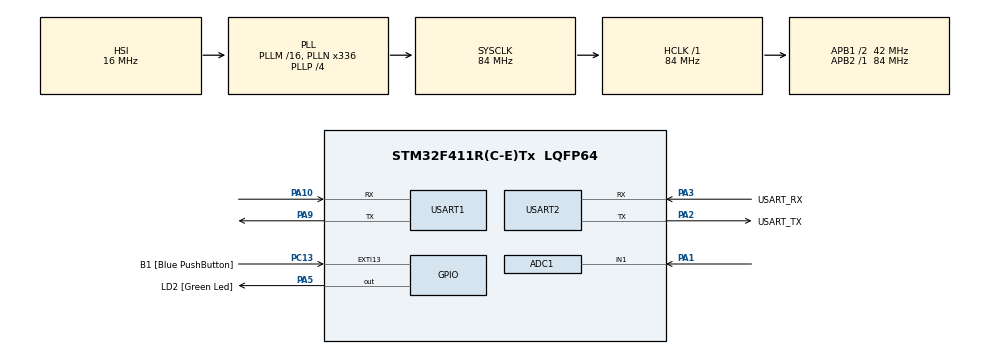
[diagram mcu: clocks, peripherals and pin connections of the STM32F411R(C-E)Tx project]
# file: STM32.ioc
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ADC1.Channel-0\#ChannelRegularConversion=ADC_CHANNEL_VREFINT
ADC1.NbrOfConversionFlag=1
ADC1.Rank-0\#ChannelRegularConversion=1
ADC1.SamplingTime-0\#ChannelRegularConversion=ADC_SAMPLETIME_3CYCLES
ADC1.master=1
Mcu.Family=STM32F4
Mcu.Name=STM32F411R(C-E)Tx
Mcu.Package=LQFP64
NVIC.PriorityGroup=NVIC_PRIORITYGROUP_0
PA1.Signal=ADCx_IN1
PA10.GPIO_PuPd=GPIO_PULLUP
PA10.Mode=Asynchronous
PA10.Signal=USART1_RX
PA13.GPIO_Label=TMS
PA13.Mode=Serial_Wire
PA13.Signal=SYS_JTMS-SWDIO
PA14.GPIO_Label=TCK
PA14.Mode=Serial_Wire
PA14.Signal=SYS_JTCK-SWCLK
PA2.GPIO_Label=USART_TX
PA2.Mode=Asynchronous
PA2.Signal=USART2_TX
PA3.GPIO_Label=USART_RX
PA3.Mode=Asynchronous
PA3.Signal=USART2_RX
PA5.GPIO_Label=LD2 [Green Led]
PA5.Signal=GPIO_Output
PA9.Mode=Asynchronous
PA9.Signal=USART1_TX
PB3.GPIO_Label=SWO
PB3.Signal=SYS_JTDO-SWO
PC13-ANTI_TAMP.GPIO_Label=B1 [Blue PushButton]
PC13-ANTI_TAMP.GPIO_ModeDefaultEXTI=GPIO_MODE_IT_FALLING
PC13-ANTI_TAMP.Signal=GPXTI13
PC14-OSC32_IN.Mode=LSE-External-Oscillator
PC14-OSC32_IN.Signal=RCC_OSC32_IN
PC15-OSC32_OUT.Mode=LSE-External-Oscillator
PC15-OSC32_OUT.Signal=RCC_OSC32_OUT
PH0\ -\ OSC_IN.Mode=HSE-External-Clock-Source
PH0\ -\ OSC_IN.Signal=RCC_OSC_IN
PH1\ -\ OSC_OUT.Mode=HSE-External-Clock-Source
PH1\ -\ OSC_OUT.Signal=RCC_OSC_OUT
ProjectManager.HeapSize=0x200
ProjectManager.StackSize=0x400
ProjectManager.TargetToolchain=Makefile
RCC.48MHZClocksFreq_Value=84000000
RCC.AHBFreq_Value=84000000
RCC.APB1CLKDivider=RCC_HCLK_DIV2
RCC.APB1Freq_Value=42000000
RCC.APB1TimFreq_Value=84000000
RCC.APB2Freq_Value=84000000
RCC.APB2TimFreq_Value=84000000
RCC.CortexFreq_Value=84000000
RCC.FLatency-AdvancedSettings=FLASH_LATENCY_2
RCC.HCLKFreq_Value=84000000
RCC.HSE_VALUE=8000000
RCC.HSI_VALUE=16000000
RCC.PLLN=336
RCC.PLLP=RCC_PLLP_DIV4
RCC.SYSCLKFreq_VALUE=84000000
RCC.SYSCLKSource=RCC_SYSCLKSOURCE_PLLCLK
RCC.VCOOutputFreq_Value=336000000
SH.ADCx_IN1.0=ADC1_IN1,IN1
TIM5.Channel-Input_Capture4_from_TI4_Remap=TIM_CHANNEL_4
USART1.VirtualMode=VM_ASYNC
USART2.VirtualMode=VM_ASYNC
VP_ADC1_TempSens_Input.Mode=IN-TempSens
VP_ADC1_Vref_Input.Mode=IN-Vrefint
VP_TIM5_VS_ClockSourceINT.Mode=Internal
VP_TIM5_VS_NoInput4.Mode=Input_Capture4_from_TI4_Remap
board=NUCLEO-F411RE

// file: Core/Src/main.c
/* USER CODE BEGIN Header */
/**
  ******************************************************************************
  * @file           : main.c
  * @brief          : Main program body
  ******************************************************************************
  * @attention
  *
  * Copyright (c) 2026 STMicroelectronics.
  * All rights reserved.
  *
  * This software is licensed under terms that can be found in the LICENSE file
  * in the root directory of this software component.
  * If no LICENSE file comes with this software, it is provided AS-IS.
  *
  ******************************************************************************
  */
/* USER CODE END Header */
#include "main.h"

/* USER CODE BEGIN Includes */
#include <string.h>
#include <stdio.h>
#include "messages.h"
#include "platform.h"
#include "dataFormats.h"
#include "uart.h"
//#include "stm32f0xx.h"
/* USER CODE END Includes */

/* USER CODE BEGIN PD */

/* Sector 6 (0x08040000): persistent flash data for the application
   Binary layout depeonds on whether this is car or fob firmware */
#define FLASH_DATA_BASE 0x08040000U

/* Sector 7 (0x08060000): flags programmed externally via openocd.py.
   Binary layout (FLAG_SIZE bytes each): feature3, feature2, feature1, unlock. */
#define FLAGS_BASE 0x08060000U

/* USER CODE END PD */

ADC_HandleTypeDef hadc1;

TIM_HandleTypeDef htim5;

UART_HandleTypeDef huart1;
UART_HandleTypeDef huart2;

/* USER CODE BEGIN PV */
//static FLASH_DATA flash_data __attribute__((section(".flash_data")));

static UART_HandleTypeDef* const uart_base[2] = { [HOST_UART] = &huart2, [BOARD_UART] = &huart1 };
/* USER CODE END PV */

void SystemClock_Config(void);
static void MX_GPIO_Init(void);
static void MX_USART1_UART_Init(void);
static void MX_USART2_UART_Init(void);
static void MX_ADC1_Init(void);
static void MX_TIM5_Init(void);

/* USER CODE BEGIN 0 */
static void initHardware(int argc, char ** argv)
{
  /* Reset of all peripherals, Initializes the Flash interface and the Systick. */
  HAL_Init();

  /* Configure the system clock */
  SystemClock_Config();

  /* Initialize all configured peripherals */
  MX_GPIO_Init();

  //setup_board_link();
  uart_init(BOARD_UART, argc, argv);
  //uart_init();
  uart_init(HOST_UART, argc, argv);

  setLED(OFF);

  // Enable the DWT cycle counter that getHardwareTime() reads. Without this,
  // DWT->CYCCNT never advances and getHardwareTime() always returns 0 (see
  // the equivalent HWREG(NVIC_DBG_INT)/HWREG(DWT_CTRL) sequence in tm4c.c).
  CoreDebug->DEMCR |= CoreDebug_DEMCR_TRCENA_Msk;
  DWT->CYCCNT = 0;
  DWT->CTRL |= DWT_CTRL_CYCCNTENA_Msk;
}

void initHardware_car(int argc, char ** argv)
{
  initHardware(argc, argv);
  MX_ADC1_Init();
  MX_TIM5_Init();
}

void initHardware_fob(int argc, char ** argv)
{
  initHardware(argc, argv);
}

void loadFlag(uint8_t* dest, flag_t flag)
{
  memcpy(dest, (const char *)(FLAGS_BASE + flag * FLAG_SIZE), FLAG_SIZE);
}

void load_flash(void *dest, size_t size)
{
  memcpy(dest, (uint8_t*)(FLASH_DATA_BASE), size);
}

/* -----------------------------------------------------------
   Flash Sector Helper (F411 Example)
   ----------------------------------------------------------- */
static uint32_t flash_sector_start(uint32_t sector)
{
  uint32_t start_addr[] = { [FLASH_SECTOR_0] = 0x08000000,
                            [FLASH_SECTOR_1] = 0x08004000,
                            [FLASH_SECTOR_2] = 0x08008000,
                            [FLASH_SECTOR_3] = 0x0800C000,
                            [FLASH_SECTOR_4] = 0x08010000,
                            [FLASH_SECTOR_5] = 0x08020000,
                            [FLASH_SECTOR_6] = 0x08040000,
                            [FLASH_SECTOR_7] = 0x08060000, };
  return start_addr[sector];
}

/* -----------------------------------------------------------
   Config Flash Write (Overwrite Whole Sector)
   ----------------------------------------------------------- */

// The only real caller passes sizeof(FOB_FLASH_DATA) (see saveFobState()
// in hardware/source/platform_common.c) - sized to that rather than a VLA
// from the runtime `size` parameter, which would make padded_data below
// unbounded from the compiler's perspective no matter what any given
// caller actually passes it.
#define MAX_FLASH_WRITE_SIZE sizeof(FOB_FLASH_DATA)
// Rounded up to a flash-word (4-byte) boundary, matching flash_data_bytes'
// own rounding below - keeps the buffer sized correctly by construction
// rather than needing MAX_FLASH_WRITE_SIZE to already be a multiple of 4.
#define MAX_FLASH_WRITE_SIZE_PADDED (MAX_FLASH_WRITE_SIZE + (4 - MAX_FLASH_WRITE_SIZE % 4) % 4)

void save_flash(const void *src, size_t size)
{
  FLASH_EraseInitTypeDef erase =
  {
      .TypeErase    = FLASH_TYPEERASE_SECTORS,
      .Sector       = FLASH_SECTOR_6,
      .NbSectors    = 1,
      .VoltageRange = FLASH_VOLTAGE_RANGE_3,
  };

  size_t flash_data_bytes = (size % 4 == 0) ? size : size + (4 - (size % 4));
  size_t flash_data_words = flash_data_bytes / 4;

  // Two separate bounds, not one, and neither is an assert(): this can be
  // reached with a caller-supplied size, and assert() is conventionally
  // compiled out under NDEBUG, which would silently remove exactly the
  // protection this exists for.
  //   1. padded_data below must not overflow.
  //   2. The write itself must not run past FLASH_SECTOR_6 into
  //      FLASH_SECTOR_7's data - a real, independent bug from the VLA:
  //      this function would silently corrupt whatever followed the
  //      sector if ever called with a size close to a full sector's worth.
  //      Derived from the same address table flash_sector_start() already
  //      uses, rather than a second hand-maintained sector-size constant.
  if (flash_data_bytes > MAX_FLASH_WRITE_SIZE_PADDED) return;
  if (flash_data_bytes > flash_sector_start(FLASH_SECTOR_7) - flash_sector_start(FLASH_SECTOR_6)) return;

  uint8_t padded_data[MAX_FLASH_WRITE_SIZE_PADDED];
  memset(padded_data, FLASH_UNINITIALIZED, sizeof(padded_data));
  memcpy(padded_data, src, size);

  uint32_t sector_err = 0;
  HAL_FLASH_Unlock();

  if (HAL_FLASHEx_Erase(&erase, &sector_err) != HAL_OK)
  {
      HAL_FLASH_Lock();
  }
  else
  {
    // Program new config data
    const uint32_t *words = (const uint32_t *)padded_data;
    uint32_t addr = flash_sector_start(FLASH_SECTOR_6);

    for (size_t i = 0; i < flash_data_words; i++)
    {
        if (HAL_FLASH_Program(FLASH_TYPEPROGRAM_WORD, addr, words[i]) != HAL_OK) break;
        addr += 4;
    }

    HAL_FLASH_Lock();
  }
}

bool buttonPressed(void)
{
  static uint32_t history = 0;
  static bool latched = false;

  bool buttonValue = HAL_GPIO_ReadPin(B1_GPIO_Port, B1_Pin);

  history = (history << 1) |
            (buttonValue == GPIO_PIN_RESET);

  if (history == 0xFFFFFFFF && !latched) {
      latched = true;
      return true;        // button just pressed
  }

  if (history == 0x00000000) {
      latched = false;    // fully released
  }

  return false;
}

void setLED(led_color_t color)
{
  HAL_GPIO_WritePin(LD2_GPIO_Port, LD2_Pin, color == GREEN);
}

void restart(void)
{
  NVIC_SystemReset();
}

static void uart_flush_rx(UART_HandleTypeDef *huart)
{
    uint8_t dummy;

    // Clear overrun / framing / noise flags first
    __HAL_UART_CLEAR_OREFLAG(huart);
    __HAL_UART_CLEAR_FEFLAG(huart);
    __HAL_UART_CLEAR_NEFLAG(huart);
    __HAL_UART_CLEAR_PEFLAG(huart);

    // Drain RX FIFO / RDR
    while (__HAL_UART_GET_FLAG(huart, UART_FLAG_RXNE))
    {
        HAL_UART_Receive(huart, &dummy, 1, 0);
    }
}

void delay_ms(uint32_t ms)
{
  HAL_Delay(ms);
}

uint32_t getHardwareTime(void)
{
  return DWT->CYCCNT;
}

/**
 * @brief Initialize the UART interfaces.
 *
 * UART 0 is used to communicate with the host computer.
 */
void uart_init(hw_uart_t uart, int argc, char ** argv)
{
  switch(uart)
  {
  case HOST_UART:
    MX_USART2_UART_Init();
    break;
  case BOARD_UART:
    MX_USART1_UART_Init();
    break;
  }

  // Clear out receive buffers
  uart_flush_rx(uart_base[uart]);
}

/**
 * @brief Check if there are characters available on a UART interface.
 *
 * @param uart is the base address of the UART port.
 * @return true if there is data available.
 * @return false if there is no data available.
 */
bool uart_avail(hw_uart_t uart)
{
    UART_HandleTypeDef *huart = uart_base[uart];

    // IDLE means discard & return false
    if (__HAL_UART_GET_FLAG(huart, UART_FLAG_IDLE))
    {
        volatile uint32_t tmp;
        tmp = huart->Instance->SR;  // read status
        tmp = huart->Instance->DR;  // read data (clears IDLE)
        (void)tmp;
        return false;
    }

    // Any RX error means discard & return false
    if (__HAL_UART_GET_FLAG(huart, UART_FLAG_ORE) ||
        __HAL_UART_GET_FLAG(huart, UART_FLAG_FE)  ||
        __HAL_UART_GET_FLAG(huart, UART_FLAG_NE)  ||
        __HAL_UART_GET_FLAG(huart, UART_FLAG_PE))
    {
        uart_flush_rx(huart);
        return false;
    }

    return __HAL_UART_GET_FLAG(huart, UART_FLAG_RXNE) != RESET;
}

/**
 * @brief Read a byte from a UART interface.
 *
 * @param uart is the base address of the UART port to read from.
 * @return the character read from the interface.
 */
int32_t uart_readb(hw_uart_t uart)
{
  int32_t c;
  HAL_UART_Receive(uart_base[uart], (uint8_t*)(&c), 1, HAL_MAX_DELAY);
  return c;
}

/**
 * @brief Read a sequence of bytes from a UART interface.
 *
 * @param uart is the base address of the UART port to read from.
 * @param buf is a pointer to the destination for the received data.
 * @param n is the number of bytes to read.
 * @return the number of bytes read from the UART interface.
 */
uint32_t uart_read(hw_uart_t uart, uint8_t *buf, uint32_t n)
{
  HAL_UART_Receive(uart_base[uart], buf, n, HAL_MAX_DELAY);
  return n;
}

/**
 * @brief Read a line (terminated with '\n') from a UART interface.
 *
 * @param uart is the base address of the UART port to read from.
 * @param buf is a pointer to the destination for the received data.
 * @return the number of bytes read from the UART interface.
 */
uint32_t uart_readline(hw_uart_t uart, uint8_t *buf) {
  uint32_t read = 0;
  uint8_t c;
  UART_HandleTypeDef* base = uart_base[uart];

  do
  {
    HAL_UART_Receive(base, &c, 1, HAL_MAX_DELAY);

    if ((c != '\r') && (c != '\n') && (c != 0xD))
    {
      buf[read] = c;
      read++;
    }

  } while ((c != '\n') && (c != 0xD));

  buf[read] = '\0';

  return read;
}

/**
 * @brief Write a byte to a UART interface.
 *
 * @param uart is the base address of the UART port to write to.
 * @param data is the byte value to write.
 */
void uart_writeb(hw_uart_t uart, uint8_t data)
{
  HAL_UART_Transmit(uart_base[uart], &data, 1, HAL_MAX_DELAY);
}

/**
 * @brief Write a sequence of bytes to a UART interface.
 *
 * @param uart is the base address of the UART port to write to.
 * @param buf is a pointer to the data to send.
 * @param len is the number of bytes to send.
 * @return the number of bytes written.
 */
uint32_t uart_write(hw_uart_t uart, uint8_t *buf, uint32_t len)
{
  HAL_UART_Transmit(uart_base[uart], buf, len, HAL_MAX_DELAY);
  return len;
}

/* USER CODE END 0 */

void SystemClock_Config(void)
{
  RCC_OscInitTypeDef RCC_OscInitStruct = {0};
  RCC_ClkInitTypeDef RCC_ClkInitStruct = {0};

  /** Configure the main internal regulator output voltage
  */
  __HAL_RCC_PWR_CLK_ENABLE();
  __HAL_PWR_VOLTAGESCALING_CONFIG(PWR_REGULATOR_VOLTAGE_SCALE1);

  /** Initializes the RCC Oscillators according to the specified parameters
  * in the RCC_OscInitTypeDef structure.
  */
  RCC_OscInitStruct.OscillatorType = RCC_OSCILLATORTYPE_HSI|RCC_OSCILLATORTYPE_LSI;
  RCC_OscInitStruct.HSIState = RCC_HSI_ON;
  RCC_OscInitStruct.HSICalibrationValue = RCC_HSICALIBRATION_DEFAULT;
  RCC_OscInitStruct.LSIState = RCC_LSI_ON;
  RCC_OscInitStruct.PLL.PLLState = RCC_PLL_ON;
  RCC_OscInitStruct.PLL.PLLSource = RCC_PLLSOURCE_HSI;
  RCC_OscInitStruct.PLL.PLLM = 16;
  RCC_OscInitStruct.PLL.PLLN = 336;
  RCC_OscInitStruct.PLL.PLLP = RCC_PLLP_DIV4;
  RCC_OscInitStruct.PLL.PLLQ = 4;
  if (HAL_RCC_OscConfig(&RCC_OscInitStruct) != HAL_OK)
  {
    Error_Handler();
  }

  /** Initializes the CPU, AHB and APB buses clocks
  */
  RCC_ClkInitStruct.ClockType = RCC_CLOCKTYPE_HCLK|RCC_CLOCKTYPE_SYSCLK
                              |RCC_CLOCKTYPE_PCLK1|RCC_CLOCKTYPE_PCLK2;
  RCC_ClkInitStruct.SYSCLKSource = RCC_SYSCLKSOURCE_PLLCLK;
  RCC_ClkInitStruct.AHBCLKDivider = RCC_SYSCLK_DIV1;
  RCC_ClkInitStruct.APB1CLKDivider = RCC_HCLK_DIV2;
  RCC_ClkInitStruct.APB2CLKDivider = RCC_HCLK_DIV1;

  if (HAL_RCC_ClockConfig(&RCC_ClkInitStruct, FLASH_LATENCY_2) != HAL_OK)
  {
    Error_Handler();
  }
}

static void MX_ADC1_Init(void)
{

  ADC_ChannelConfTypeDef sConfig = {0};

  /** Configure the global features of the ADC (Clock, Resolution, Data Alignment and number of conversion)
  */
  hadc1.Instance = ADC1;
  hadc1.Init.ClockPrescaler = ADC_CLOCK_SYNC_PCLK_DIV4;
  hadc1.Init.Resolution = ADC_RESOLUTION_12B;
  hadc1.Init.ScanConvMode = DISABLE;
  hadc1.Init.ContinuousConvMode = DISABLE;
  hadc1.Init.DiscontinuousConvMode = DISABLE;
  hadc1.Init.ExternalTrigConvEdge = ADC_EXTERNALTRIGCONVEDGE_NONE;
  hadc1.Init.ExternalTrigConv = ADC_SOFTWARE_START;
  hadc1.Init.DataAlign = ADC_DATAALIGN_RIGHT;
  hadc1.Init.NbrOfConversion = 1;
  hadc1.Init.DMAContinuousRequests = DISABLE;
  hadc1.Init.EOCSelection = ADC_EOC_SINGLE_CONV;
  if (HAL_ADC_Init(&hadc1) != HAL_OK)
  {
    Error_Handler();
  }

  /** Configure for the selected ADC regular channel its corresponding rank in the sequencer and its sample time.
  */
  sConfig.Channel = ADC_CHANNEL_VREFINT;
  sConfig.Rank = 1;
  sConfig.SamplingTime = ADC_SAMPLETIME_3CYCLES;
  if (HAL_ADC_ConfigChannel(&hadc1, &sConfig) != HAL_OK)
  {
    Error_Handler();
  }

}

static void MX_TIM5_Init(void)
{

  TIM_ClockConfigTypeDef sClockSourceConfig = {0};
  TIM_MasterConfigTypeDef sMasterConfig = {0};
  TIM_IC_InitTypeDef sConfigIC = {0};

  htim5.Instance = TIM5;
  htim5.Init.Prescaler = 0;
  htim5.Init.CounterMode = TIM_COUNTERMODE_UP;
  htim5.Init.Period = 4294967295;
  htim5.Init.ClockDivision = TIM_CLOCKDIVISION_DIV1;
  htim5.Init.AutoReloadPreload = TIM_AUTORELOAD_PRELOAD_DISABLE;
  if (HAL_TIM_Base_Init(&htim5) != HAL_OK)
  {
    Error_Handler();
  }
  sClockSourceConfig.ClockSource = TIM_CLOCKSOURCE_INTERNAL;
  if (HAL_TIM_ConfigClockSource(&htim5, &sClockSourceConfig) != HAL_OK)
  {
    Error_Handler();
  }
  if (HAL_TIM_IC_Init(&htim5) != HAL_OK)
  {
    Error_Handler();
  }
  sMasterConfig.MasterOutputTrigger = TIM_TRGO_RESET;
  sMasterConfig.MasterSlaveMode = TIM_MASTERSLAVEMODE_DISABLE;
  if (HAL_TIMEx_MasterConfigSynchronization(&htim5, &sMasterConfig) != HAL_OK)
  {
    Error_Handler();
  }
  sConfigIC.ICPolarity = TIM_INPUTCHANNELPOLARITY_RISING;
  sConfigIC.ICSelection = TIM_ICSELECTION_DIRECTTI;
  sConfigIC.ICPrescaler = TIM_ICPSC_DIV1;
  sConfigIC.ICFilter = 0;
  if (HAL_TIM_IC_ConfigChannel(&htim5, &sConfigIC, TIM_CHANNEL_4) != HAL_OK)
  {
    Error_Handler();
  }
  if (HAL_TIMEx_RemapConfig(&htim5, TIM_TIM5_LSI) != HAL_OK)
  {
    Error_Handler();
  }

}

static void MX_USART1_UART_Init(void)
{

  huart1.Instance = USART1;
  huart1.Init.BaudRate = 115200;
  huart1.Init.WordLength = UART_WORDLENGTH_8B;
  huart1.Init.StopBits = UART_STOPBITS_1;
  huart1.Init.Parity = UART_PARITY_NONE;
  huart1.Init.Mode = UART_MODE_TX_RX;
  huart1.Init.HwFlowCtl = UART_HWCONTROL_NONE;
  huart1.Init.OverSampling = UART_OVERSAMPLING_16;
  if (HAL_UART_Init(&huart1) != HAL_OK)
  {
    Error_Handler();
  }

}

static void MX_USART2_UART_Init(void)
{

  huart2.Instance = USART2;
  huart2.Init.BaudRate = 115200;
  huart2.Init.WordLength = UART_WORDLENGTH_8B;
  huart2.Init.StopBits = UART_STOPBITS_1;
  huart2.Init.Parity = UART_PARITY_NONE;
  huart2.Init.Mode = UART_MODE_TX_RX;
  huart2.Init.HwFlowCtl = UART_HWCONTROL_NONE;
  huart2.Init.OverSampling = UART_OVERSAMPLING_16;
  if (HAL_UART_Init(&huart2) != HAL_OK)
  {
    Error_Handler();
  }

}

static void MX_GPIO_Init(void)
{
  GPIO_InitTypeDef GPIO_InitStruct = {0};

  /* GPIO Ports Clock Enable */
  __HAL_RCC_GPIOC_CLK_ENABLE();
  __HAL_RCC_GPIOH_CLK_ENABLE();
  __HAL_RCC_GPIOA_CLK_ENABLE();
  __HAL_RCC_GPIOB_CLK_ENABLE();

  /*Configure GPIO pin Output Level */
  HAL_GPIO_WritePin(LD2_GPIO_Port, LD2_Pin, GPIO_PIN_RESET);

  /*Configure GPIO pin : B1_Pin */
  GPIO_InitStruct.Pin = B1_Pin;
  GPIO_InitStruct.Mode = GPIO_MODE_IT_FALLING;
  GPIO_InitStruct.Pull = GPIO_NOPULL;
  HAL_GPIO_Init(B1_GPIO_Port, &GPIO_InitStruct);

  /*Configure GPIO pin : LD2_Pin */
  GPIO_InitStruct.Pin = LD2_Pin;
  GPIO_InitStruct.Mode = GPIO_MODE_OUTPUT_PP;
  GPIO_InitStruct.Pull = GPIO_NOPULL;
  GPIO_InitStruct.Speed = GPIO_SPEED_FREQ_LOW;
  HAL_GPIO_Init(LD2_GPIO_Port, &GPIO_InitStruct);

}

void Error_Handler(void)
{
  __disable_irq();
  while (1)
  {
  }
}
